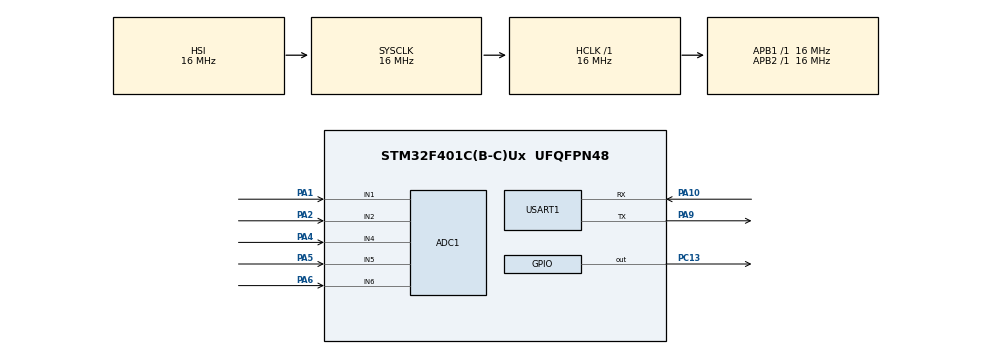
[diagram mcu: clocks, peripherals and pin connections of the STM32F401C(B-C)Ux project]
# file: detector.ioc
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ADC1.Channel-0\#ChannelRegularConversion=ADC_CHANNEL_1
ADC1.Channel-1\#ChannelRegularConversion=ADC_CHANNEL_2
ADC1.Channel-2\#ChannelRegularConversion=ADC_CHANNEL_4
ADC1.Channel-3\#ChannelRegularConversion=ADC_CHANNEL_5
ADC1.Channel-4\#ChannelRegularConversion=ADC_CHANNEL_6
ADC1.ContinuousConvMode=DISABLE
ADC1.DMAContinuousRequests=DISABLE
ADC1.NbrOfConversion=5
ADC1.NbrOfConversionFlag=1
ADC1.Rank-0\#ChannelRegularConversion=1
ADC1.Rank-1\#ChannelRegularConversion=2
ADC1.Rank-2\#ChannelRegularConversion=3
ADC1.Rank-3\#ChannelRegularConversion=4
ADC1.Rank-4\#ChannelRegularConversion=5
ADC1.SamplingTime-0\#ChannelRegularConversion=ADC_SAMPLETIME_28CYCLES
ADC1.SamplingTime-1\#ChannelRegularConversion=ADC_SAMPLETIME_28CYCLES
ADC1.SamplingTime-2\#ChannelRegularConversion=ADC_SAMPLETIME_28CYCLES
ADC1.SamplingTime-3\#ChannelRegularConversion=ADC_SAMPLETIME_28CYCLES
ADC1.SamplingTime-4\#ChannelRegularConversion=ADC_SAMPLETIME_28CYCLES
ADC1.ScanConvMode=ENABLE
ADC1.master=1
Dma.ADC1.0.Direction=DMA_PERIPH_TO_MEMORY
Dma.ADC1.0.FIFOMode=DMA_FIFOMODE_DISABLE
Dma.ADC1.0.Instance=DMA2_Stream0
Dma.ADC1.0.MemDataAlignment=DMA_MDATAALIGN_HALFWORD
Dma.ADC1.0.MemInc=DMA_MINC_ENABLE
Dma.ADC1.0.Mode=DMA_CIRCULAR
Dma.ADC1.0.PeriphDataAlignment=DMA_PDATAALIGN_HALFWORD
Dma.ADC1.0.PeriphInc=DMA_PINC_DISABLE
Dma.ADC1.0.Priority=DMA_PRIORITY_LOW
Dma.Request0=ADC1
Mcu.Family=STM32F4
Mcu.Name=STM32F401C(B-C)Ux
Mcu.Package=UFQFPN48
NVIC.ADC_IRQn=true\:0\:0\:false\:false\:true\:true\:true\:true
NVIC.DMA2_Stream0_IRQn=true\:0\:0\:false\:false\:true\:false\:true\:true
NVIC.PriorityGroup=NVIC_PRIORITYGROUP_4
NVIC.USART1_IRQn=true\:0\:0\:false\:false\:true\:true\:true\:true
PA1.Signal=ADCx_IN1
PA10.Mode=Asynchronous
PA10.Signal=USART1_RX
PA2.Signal=ADCx_IN2
PA4.Signal=ADCx_IN4
PA5.Signal=ADCx_IN5
PA6.Signal=ADCx_IN6
PA9.Mode=Asynchronous
PA9.Signal=USART1_TX
PC13-ANTI_TAMP.Signal=GPIO_Output
ProjectManager.HeapSize=0x200
ProjectManager.StackSize=0x400
ProjectManager.TargetToolchain=CMake
RCC.AHBFreq_Value=16000000
RCC.APB1Freq_Value=16000000
RCC.APB2Freq_Value=16000000
RCC.CortexFreq_Value=16000000
RCC.HSE_VALUE=25000000
RCC.HSI_VALUE=16000000
RCC.LSE_VALUE=32768
RCC.SYSCLKFreq_VALUE=16000000
RCC.VCOOutputFreq_Value=192000000
SH.ADCx_IN1.0=ADC1_IN1,IN1
SH.ADCx_IN2.0=ADC1_IN2,IN2
SH.ADCx_IN4.0=ADC1_IN4,IN4
SH.ADCx_IN5.0=ADC1_IN5,IN5
SH.ADCx_IN6.0=ADC1_IN6,IN6
USART1.VirtualMode=VM_ASYNC
board=custom

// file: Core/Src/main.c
/* USER CODE BEGIN Header */
/**
  ******************************************************************************
  * @file           : main.c
  * @brief          : Main program body
  ******************************************************************************
  * @attention
  *
  * Copyright (c) 2024 STMicroelectronics.
  * All rights reserved.
  *
  * This software is licensed under terms that can be found in the LICENSE file
  * in the root directory of this software component.
  * If no LICENSE file comes with this software, it is provided AS-IS.
  *
  ******************************************************************************
  */
/* USER CODE END Header */
#include "main.h"

/* USER CODE BEGIN Includes */
#include <stm32f401xc.h>
#include <stm32f4xx_hal_flash_ex.h>

/* USER CODE END Includes */

/* USER CODE BEGIN PD */
#define NUM_ADC_CHANNELS 5
#define PERIOD 100
/* USER CODE END PD */

ADC_HandleTypeDef hadc1;
DMA_HandleTypeDef hdma_adc1;

UART_HandleTypeDef huart1;

/* USER CODE BEGIN PV */
uint16_t adc_data[NUM_ADC_CHANNELS];
float adc_volts[NUM_ADC_CHANNELS];

const float ADC_TO_VOLTS = 3.3 / (1 << 12);
/* USER CODE END PV */

void SystemClock_Config(void);
static void MX_GPIO_Init(void);
static void MX_DMA_Init(void);
static void MX_ADC1_Init(void);
static void MX_USART1_UART_Init(void);

/* USER CODE BEGIN 0 */
void HAL_ADC_ConvCpltCallback(ADC_HandleTypeDef *hadc)
{
  for (size_t i = 0; i < NUM_ADC_CHANNELS; ++i)
  {
    adc_volts[i] = adc_data[i] * ADC_TO_VOLTS;
  }
  HAL_UART_Transmit_IT(&huart1, (uint8_t *)adc_volts,
                       NUM_ADC_CHANNELS * sizeof(float));
  HAL_GPIO_TogglePin(GPIOC, GPIO_PIN_13);
}
/* USER CODE END 0 */

int main(void)
{

  /* MCU Configuration--------------------------------------------------------*/

  /* Reset of all peripherals, Initializes the Flash interface and the Systick. */
  HAL_Init();

  /* Configure the system clock */
  SystemClock_Config();

  /* Initialize all configured peripherals */
  MX_GPIO_Init();
  MX_DMA_Init();
  MX_ADC1_Init();
  MX_USART1_UART_Init();

  /* Infinite loop */
  /* USER CODE BEGIN WHILE */
  while (1)
  {
    HAL_ADC_Start_DMA(&hadc1, (uint32_t *)adc_data, NUM_ADC_CHANNELS);
    HAL_Delay(PERIOD);
    /* USER CODE END WHILE */

  }
}

void SystemClock_Config(void)
{
  RCC_OscInitTypeDef RCC_OscInitStruct = {0};
  RCC_ClkInitTypeDef RCC_ClkInitStruct = {0};

  /** Configure the main internal regulator output voltage
  */
  __HAL_RCC_PWR_CLK_ENABLE();
  __HAL_PWR_VOLTAGESCALING_CONFIG(PWR_REGULATOR_VOLTAGE_SCALE2);

  /** Initializes the RCC Oscillators according to the specified parameters
  * in the RCC_OscInitTypeDef structure.
  */
  RCC_OscInitStruct.OscillatorType = RCC_OSCILLATORTYPE_HSI;
  RCC_OscInitStruct.HSIState = RCC_HSI_ON;
  RCC_OscInitStruct.HSICalibrationValue = RCC_HSICALIBRATION_DEFAULT;
  RCC_OscInitStruct.PLL.PLLState = RCC_PLL_NONE;
  if (HAL_RCC_OscConfig(&RCC_OscInitStruct) != HAL_OK)
  {
    Error_Handler();
  }

  /** Initializes the CPU, AHB and APB buses clocks
  */
  RCC_ClkInitStruct.ClockType = RCC_CLOCKTYPE_HCLK | RCC_CLOCKTYPE_SYSCLK
                              | RCC_CLOCKTYPE_PCLK1 | RCC_CLOCKTYPE_PCLK2;
  RCC_ClkInitStruct.SYSCLKSource = RCC_SYSCLKSOURCE_HSI;
  RCC_ClkInitStruct.AHBCLKDivider = RCC_SYSCLK_DIV1;
  RCC_ClkInitStruct.APB1CLKDivider = RCC_HCLK_DIV1;
  RCC_ClkInitStruct.APB2CLKDivider = RCC_HCLK_DIV1;

  if (HAL_RCC_ClockConfig(&RCC_ClkInitStruct, FLASH_LATENCY_0) != HAL_OK)
  {
    Error_Handler();
  }
}

static void MX_ADC1_Init(void)
{

  ADC_ChannelConfTypeDef sConfig = {0};

  /** Configure the global features of the ADC (Clock, Resolution, Data Alignment and number of conversion)
  */
  hadc1.Instance = ADC1;
  hadc1.Init.ClockPrescaler = ADC_CLOCK_SYNC_PCLK_DIV2;
  hadc1.Init.Resolution = ADC_RESOLUTION_12B;
  hadc1.Init.ScanConvMode = ENABLE;
  hadc1.Init.ContinuousConvMode = DISABLE;
  hadc1.Init.DiscontinuousConvMode = DISABLE;
  hadc1.Init.ExternalTrigConvEdge = ADC_EXTERNALTRIGCONVEDGE_NONE;
  hadc1.Init.ExternalTrigConv = ADC_SOFTWARE_START;
  hadc1.Init.DataAlign = ADC_DATAALIGN_RIGHT;
  hadc1.Init.NbrOfConversion = 5;
  hadc1.Init.DMAContinuousRequests = DISABLE;
  hadc1.Init.EOCSelection = ADC_EOC_SINGLE_CONV;
  if (HAL_ADC_Init(&hadc1) != HAL_OK)
  {
    Error_Handler();
  }

  /** Configure for the selected ADC regular channel its corresponding rank in the sequencer and its sample time.
  */
  sConfig.Channel = ADC_CHANNEL_1;
  sConfig.Rank = 1;
  sConfig.SamplingTime = ADC_SAMPLETIME_28CYCLES;
  if (HAL_ADC_ConfigChannel(&hadc1, &sConfig) != HAL_OK)
  {
    Error_Handler();
  }

  /** Configure for the selected ADC regular channel its corresponding rank in the sequencer and its sample time.
  */
  sConfig.Channel = ADC_CHANNEL_2;
  sConfig.Rank = 2;
  if (HAL_ADC_ConfigChannel(&hadc1, &sConfig) != HAL_OK)
  {
    Error_Handler();
  }

  /** Configure for the selected ADC regular channel its corresponding rank in the sequencer and its sample time.
  */
  sConfig.Channel = ADC_CHANNEL_4;
  sConfig.Rank = 3;
  if (HAL_ADC_ConfigChannel(&hadc1, &sConfig) != HAL_OK)
  {
    Error_Handler();
  }

  /** Configure for the selected ADC regular channel its corresponding rank in the sequencer and its sample time.
  */
  sConfig.Channel = ADC_CHANNEL_5;
  sConfig.Rank = 4;
  if (HAL_ADC_ConfigChannel(&hadc1, &sConfig) != HAL_OK)
  {
    Error_Handler();
  }

  /** Configure for the selected ADC regular channel its corresponding rank in the sequencer and its sample time.
  */
  sConfig.Channel = ADC_CHANNEL_6;
  sConfig.Rank = 5;
  if (HAL_ADC_ConfigChannel(&hadc1, &sConfig) != HAL_OK)
  {
    Error_Handler();
  }
}

static void MX_USART1_UART_Init(void)
{

  huart1.Instance = USART1;
  huart1.Init.BaudRate = 115200;
  huart1.Init.WordLength = UART_WORDLENGTH_8B;
  huart1.Init.StopBits = UART_STOPBITS_1;
  huart1.Init.Parity = UART_PARITY_NONE;
  huart1.Init.Mode = UART_MODE_TX_RX;
  huart1.Init.HwFlowCtl = UART_HWCONTROL_NONE;
  huart1.Init.OverSampling = UART_OVERSAMPLING_16;
  if (HAL_UART_Init(&huart1) != HAL_OK)
  {
    Error_Handler();
  }
}

static void MX_DMA_Init(void)
{

  /* DMA controller clock enable */
  __HAL_RCC_DMA2_CLK_ENABLE();

  /* DMA interrupt init */
  /* DMA2_Stream0_IRQn interrupt configuration */
  HAL_NVIC_SetPriority(DMA2_Stream0_IRQn, 0, 0);
  HAL_NVIC_EnableIRQ(DMA2_Stream0_IRQn);
}

static void MX_GPIO_Init(void)
{
  GPIO_InitTypeDef GPIO_InitStruct = {0};

  /* GPIO Ports Clock Enable */
  __HAL_RCC_GPIOC_CLK_ENABLE();
  __HAL_RCC_GPIOA_CLK_ENABLE();

  /*Configure GPIO pin Output Level */
  HAL_GPIO_WritePin(GPIOC, GPIO_PIN_13, GPIO_PIN_RESET);

  /*Configure GPIO pin : PC13 */
  GPIO_InitStruct.Pin = GPIO_PIN_13;
  GPIO_InitStruct.Mode = GPIO_MODE_OUTPUT_PP;
  GPIO_InitStruct.Pull = GPIO_NOPULL;
  GPIO_InitStruct.Speed = GPIO_SPEED_FREQ_LOW;
  HAL_GPIO_Init(GPIOC, &GPIO_InitStruct);

}

void Error_Handler(void)
{
  __disable_irq();
  while (1)
  {
  }
}
